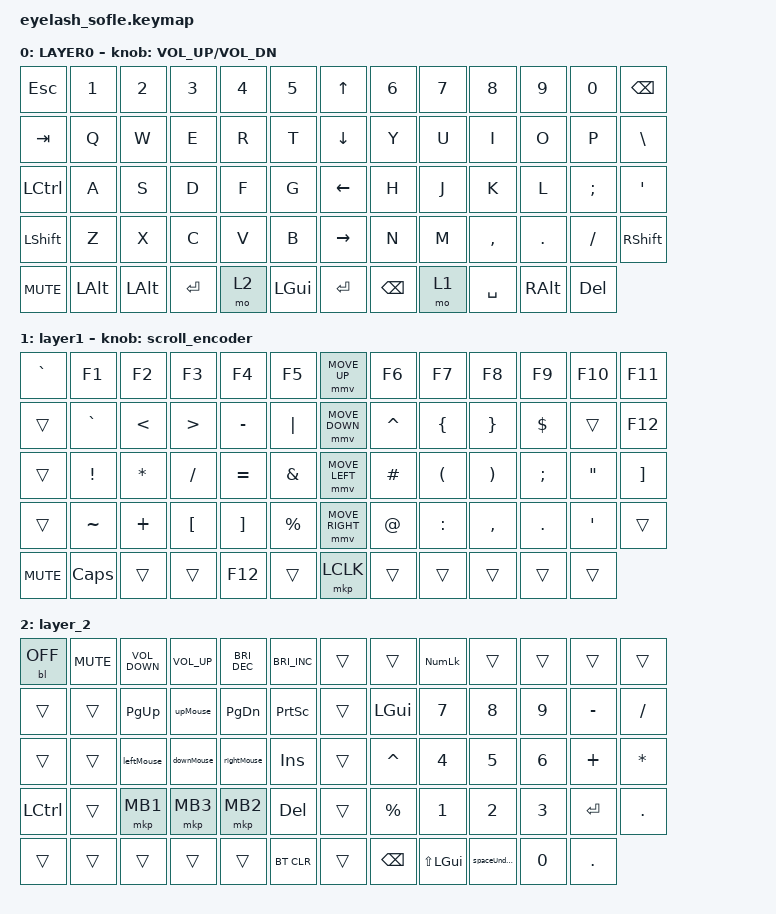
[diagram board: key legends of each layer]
#define ZMK_POINTING_DEFAULT_MOVE_VAL 1200  // 600
#define ZMK_POINTING_DEFAULT_SCRL_VAL 25   // 10

#include <input/processors.dtsi>
#include <zephyr/dt-bindings/input/input-event-codes.h>
#include <behaviors.dtsi>
#include <dt-bindings/zmk/backlight.h>
#include <dt-bindings/zmk/bt.h>
#include <dt-bindings/zmk/keys.h>
#include <dt-bindings/zmk/pointing.h>

&mmv_input_listener { input-processors = <&zip_xy_scaler 2 1>; };

&msc_input_listener { input-processors = <&zip_scroll_scaler 2 1>; };

&msc {
    acceleration-exponent = <1>;      // 0
    time-to-max-speed-ms = <100>;       // 300
    delay-ms = <0>;                   // 0
};

&mmv {
    time-to-max-speed-ms = <500>;
    acceleration-exponent = <1>;
    trigger-period-ms = <16>;
};

&soft_off { hold-time-ms = <2000>; };

/ {
    scroll_encoder: scroll_encoder {
        compatible = "zmk,behavior-sensor-rotate";
        #sensor-binding-cells = <0>;
        bindings = <&msc SCRL_DOWN>, <&msc SCRL_UP>;

        tap-ms = <100>;
    };

    spaceUnderscore: spaceUnderscore {
        compatible = "zmk,behavior-mod-morph";
        label = "SPACEUNDERSCORE";
        bindings = <&kp SPACE>, <&kp UNDERSCORE>;

        #binding-cells = <0>;
        mods = <(MOD_LSFT|MOD_RSFT)>;
    };

    upMouse: upMouse {
        compatible = "zmk,behavior-mod-morph";
        label = "UPMOUSE";
        bindings = <&kp UP_ARROW>, <&mmv MOVE_UP>;

        #binding-cells = <0>;
        mods = <(MOD_LCTL)>;
    };

    downMouse: downMouse {
        compatible = "zmk,behavior-mod-morph";
        label = "DOWNMOUSE";
        bindings = <&kp DOWN>, <&mmv MOVE_DOWN>;

        #binding-cells = <0>;
        mods = <(MOD_LCTL)>;
    };

    leftMouse: leftMouse {
        compatible = "zmk,behavior-mod-morph";
        label = "LEFTMOUSE";
        bindings = <&kp LEFT>, <&mmv MOVE_LEFT>;

        #binding-cells = <0>;
        mods = <(MOD_LCTL)>;
    };

    rightMouse: rightMouse {
        compatible = "zmk,behavior-mod-morph";
        label = "RIGHTMOUSE";
        bindings = <&kp RIGHT_ARROW>, <&mmv MOVE_RIGHT>;

        #binding-cells = <0>;
        mods = <(MOD_LCTL)>;
    };

    behaviors {
    };

    combos {
        compatible = "zmk,combos";

        terminalCopy {
            bindings = <&kp LC(LS(C))>;
            key-positions = <29 42>;
        };

        terminalPaste {
            bindings = <&kp LS(LC(V))>;
            key-positions = <30 43>;
        };

        cdSpace {
            bindings = <&cdSpace>;
            key-positions = <16 29>;
        };

        tempCaps {
            bindings = <&caps_word>;
            key-positions = <39 51>;
        };

        workspace1 {
            bindings = <&kp LG(NUMBER_1)>;
            key-positions = <1 14>;
        };

        worspace2 {
            bindings = <&kp LG(NUMBER_2)>;
            key-positions = <15 2>;
        };

        workspace3 {
            bindings = <&kp LG(NUMBER_3)>;
            key-positions = <16 3>;
        };

        workspace4 {
            bindings = <&kp LG(NUMBER_4)>;
            key-positions = <17 4>;
        };

        workspace5 {
            bindings = <&kp LG(NUMBER_5)>;
            key-positions = <18 5>;
        };

        workspace6 {
            bindings = <&kp LG(NUMBER_6)>;
            key-positions = <7 20>;
        };

        workspace7 {
            bindings = <&kp LG(NUMBER_7)>;
            key-positions = <21 8>;
        };

        workspace8 {
            bindings = <&kp LG(NUMBER_8)>;
            key-positions = <9 22>;
        };

        workspace9 {
            bindings = <&kp LG(NUMBER_9)>;
            key-positions = <23 10>;
        };

        workspace10 {
            bindings = <&kp LG(NUMBER_0)>;
            key-positions = <24 11>;
        };

        underscoreCombo {
            bindings = <&kp UNDER>;
            key-positions = <61 60>;
        };
    };

    macros {
        cdSpace: cdSpace {
            compatible = "zmk,behavior-macro";
            #binding-cells = <0>;
            bindings = <&kp C &kp D &kp SPACE>;
            label = "CDSPACE";
        };
    };

    keymap {
        compatible = "zmk,keymap";

        layer0 {
            bindings = <
&kp ESC     &kp N1        &kp N2        &kp N3   &kp N4  &kp N5          &kp UP_ARROW     &kp N6         &kp N7  &kp N8     &kp N9         &kp N0      &kp BACKSPACE
&kp TAB     &kp Q         &kp W         &kp E    &kp R   &kp T           &kp DOWN_ARROW   &kp Y          &kp U   &kp I      &kp O          &kp P       &kp BSLH
&kp LCTRL   &kp A         &kp S         &kp D    &kp F   &kp G           &kp LEFT_ARROW   &kp H          &kp J   &kp K      &kp L          &kp SEMI    &kp APOS
&kp LSHFT   &kp Z         &kp X         &kp C    &kp V   &kp B           &kp RIGHT_ARROW  &kp N          &kp M   &kp COMMA  &kp DOT        &kp FSLH    &kp RIGHT_SHIFT
&kp C_MUTE  &kp LEFT_ALT  &kp LEFT_ALT  &kp RET  &mo 2   &kp LEFT_GUI    &kp ENTER        &kp BACKSPACE  &mo 1   &kp SPACE  &kp RIGHT_ALT  &kp DELETE
            >;

            sensor-bindings = <&inc_dec_kp C_VOLUME_UP C_VOL_DN>;
            display-name = "LAYER0";
        };

        layer_1 {
            bindings = <
&kp GRAVE   &kp F1           &kp F2         &kp F3            &kp F4             &kp F5           &mmv MOVE_UP     &kp F6       &kp F7                &kp F8                 &kp F9         &kp F10            &kp F11
&trans      &kp GRAVE        &kp LESS_THAN  &kp GREATER_THAN  &kp MINUS          &kp PIPE         &mmv MOVE_DOWN   &kp CARET    &kp LEFT_BRACE        &kp RIGHT_BRACE        &kp DOLLAR     &trans             &kp F12
&trans      &kp EXCLAMATION  &kp ASTERISK   &kp SLASH         &kp EQUAL          &kp AMPERSAND    &mmv MOVE_LEFT   &kp HASH     &kp LEFT_PARENTHESIS  &kp RIGHT_PARENTHESIS  &kp SEMICOLON  &kp DOUBLE_QUOTES  &kp RIGHT_BRACKET
&trans      &kp TILDE        &kp PLUS       &kp LEFT_BRACKET  &kp RIGHT_BRACKET  &kp PERCENT      &mmv MOVE_RIGHT  &kp AT_SIGN  &kp COLON             &kp COMMA              &kp PERIOD     &kp SINGLE_QUOTE   &trans
&kp C_MUTE  &kp CAPSLOCK     &trans         &trans            &kp F12            &trans           &mkp LCLK        &trans       &trans                &trans                 &trans         &trans
            >;

            display-name = "layer1";
            sensor-bindings = <&scroll_encoder>;
        };

        layer_2 {
            bindings = <
&bl BL_OFF  &kp K_MUTE  &kp C_VOLUME_DOWN  &kp C_VOLUME_UP  &kp C_BRIGHTNESS_DEC  &kp C_BRIGHTNESS_INC    &trans  &trans        &kp KP_NUMLOCK  &trans            &trans  &trans     &trans
&trans      &trans      &kp PG_UP          &upMouse         &kp PAGE_DOWN         &kp PRINTSCREEN         &trans  &kp LEFT_GUI  &kp N7          &kp N8            &kp N9  &kp MINUS  &kp FSLH
&trans      &trans      &leftMouse         &downMouse       &rightMouse           &kp INS                 &trans  &kp CARET     &kp N4          &kp N5            &kp N6  &kp PLUS   &kp STAR
&kp LCTRL   &trans      &mkp MB1           &mkp MB3         &mkp MB2              &kp DEL                 &trans  &kp PERCENT   &kp N1          &kp N2            &kp N3  &kp RET    &kp DOT
&trans      &trans      &trans             &trans           &trans                &bt BT_CLR              &trans  &kp BSPC      &kp LS(LGUI)    &spaceUnderscore  &kp N0  &kp DOT
            >;
        };
    };
};
